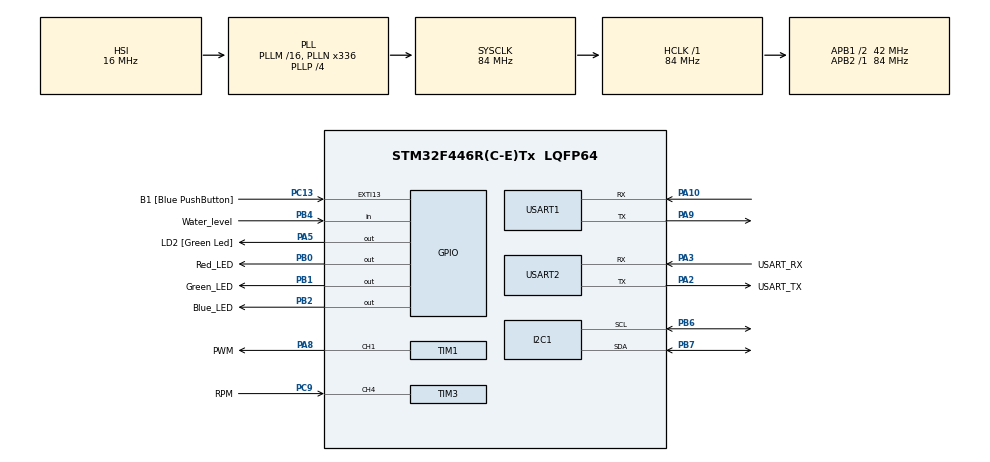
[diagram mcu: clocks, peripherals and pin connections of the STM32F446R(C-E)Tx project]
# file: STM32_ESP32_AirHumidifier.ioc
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IWDG.Prescaler=IWDG_PRESCALER_32
IWDG.Reload=1999
Mcu.Family=STM32F4
Mcu.Name=STM32F446R(C-E)Tx
Mcu.Package=LQFP64
NVIC.PriorityGroup=NVIC_PRIORITYGROUP_0
NVIC.TIM3_IRQn=true\:0\:0\:false\:false\:true\:true\:true\:true
NVIC.USART1_IRQn=true\:0\:0\:false\:false\:true\:true\:true\:true
PA10.Mode=Asynchronous
PA10.Signal=USART1_RX
PA13.GPIO_Label=TMS
PA13.Mode=Serial_Wire
PA13.Signal=SYS_JTMS-SWDIO
PA14.GPIO_Label=TCK
PA14.Mode=Serial_Wire
PA14.Signal=SYS_JTCK-SWCLK
PA2.GPIO_Label=USART_TX
PA2.Mode=Asynchronous
PA2.Signal=USART2_TX
PA3.GPIO_Label=USART_RX
PA3.Mode=Asynchronous
PA3.Signal=USART2_RX
PA5.GPIO_Label=LD2 [Green Led]
PA5.Signal=GPIO_Output
PA8.GPIO_Label=PWM
PA8.Signal=S_TIM1_CH1
PA9.Mode=Asynchronous
PA9.Signal=USART1_TX
PB0.GPIO_Label=Red_LED
PB0.Signal=GPIO_Output
PB1.GPIO_Label=Green_LED
PB1.Signal=GPIO_Output
PB2.GPIO_Label=Blue_LED
PB2.Signal=GPIO_Output
PB3.GPIO_Label=SWO
PB3.Signal=SYS_JTDO-SWO
PB4.GPIO_Label=Water_level
PB4.GPIO_PuPd=GPIO_PULLUP
PB4.Signal=GPIO_Input
PB6.GPIO_Pu=GPIO_PULLUP
PB6.Mode=I2C
PB6.Signal=I2C1_SCL
PB7.GPIO_Pu=GPIO_PULLUP
PB7.Mode=I2C
PB7.Signal=I2C1_SDA
PC13.GPIO_Label=B1 [Blue PushButton]
PC13.GPIO_ModeDefaultEXTI=GPIO_MODE_IT_FALLING
PC13.Signal=GPXTI13
PC14-OSC32_IN.Mode=LSE-External-Oscillator
PC14-OSC32_IN.Signal=RCC_OSC32_IN
PC15-OSC32_OUT.Mode=LSE-External-Oscillator
PC15-OSC32_OUT.Signal=RCC_OSC32_OUT
PC9.GPIO_Label=RPM
PC9.GPIO_PuPd=GPIO_PULLUP
PC9.Signal=S_TIM3_CH4
PH0-OSC_IN.Mode=HSE-External-Oscillator
PH0-OSC_IN.Signal=RCC_OSC_IN
PH1-OSC_OUT.Mode=HSE-External-Oscillator
PH1-OSC_OUT.Signal=RCC_OSC_OUT
ProjectManager.HeapSize=0x200
ProjectManager.StackSize=0x800
ProjectManager.TargetToolchain=CMake
RCC.48MHZClocksFreq_Value=84000000
RCC.AHBFreq_Value=84000000
RCC.APB1CLKDivider=RCC_HCLK_DIV2
RCC.APB1Freq_Value=42000000
RCC.APB1TimFreq_Value=84000000
RCC.APB2Freq_Value=84000000
RCC.APB2TimFreq_Value=84000000
RCC.CortexFreq_Value=84000000
RCC.FLatency-AdvancedSettings=FLASH_LATENCY_2
RCC.HCLKFreq_Value=84000000
RCC.HSE_VALUE=8000000
RCC.HSI_VALUE=16000000
RCC.PLLN=336
RCC.PLLP=RCC_PLLP_DIV4
RCC.SYSCLKFreq_VALUE=84000000
RCC.SYSCLKSource=RCC_SYSCLKSOURCE_PLLCLK
RCC.USBFreq_Value=168000000
RCC.VCOOutputFreq_Value=336000000
SH.S_TIM1_CH1.0=TIM1_CH1,PWM Generation1 CH1
SH.S_TIM3_CH4.0=TIM3_CH4,Input_Capture4_from_TI4
TIM1.Channel-PWM\ Generation1\ CH1=TIM_CHANNEL_1
TIM1.Period=\t3359
TIM1.Prescaler=0
TIM3.Channel-Input_Capture4_from_TI4=TIM_CHANNEL_4
TIM3.CounterMode=TIM_COUNTERMODE_UP
TIM3.Prescaler=839
USART1.VirtualMode=VM_ASYNC
USART2.VirtualMode=VM_ASYNC
VP_IWDG_VS_IWDG.Mode=IWDG_Activate
VP_TIM1_VS_ClockSourceINT.Mode=Internal
VP_TIM3_VS_ClockSourceINT.Mode=Internal
board=NUCLEO-F446RE

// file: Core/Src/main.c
/* USER CODE BEGIN Header */
/**
  ******************************************************************************
  * @file           : main.c
  * @brief          : Main program body
  ******************************************************************************
  * @attention
  *
  * Copyright (c) 2026 STMicroelectronics.
  * All rights reserved.
  *
  * This software is licensed under terms that can be found in the LICENSE file
  * in the root directory of this software component.
  * If no LICENSE file comes with this software, it is provided AS-IS.
  *
  ******************************************************************************
  */
/* USER CODE END Header */
#include "main.h"
#include "i2c.h"
#include "iwdg.h"
#include "tim.h"
#include "usart.h"
#include "gpio.h"

/* USER CODE BEGIN Includes */
#include "main.hpp"
#include "I2C_recovery.hpp"
/* USER CODE END Includes */

void SystemClock_Config(void);

int main(void)
{

  /* MCU Configuration--------------------------------------------------------*/

  /* Reset of all peripherals, Initializes the Flash interface and the Systick. */
  HAL_Init();

  /* Configure the system clock */
  SystemClock_Config();

  /* USER CODE BEGIN SysInit */
  I2C1_BusRecovery();
  /* USER CODE END SysInit */

  /* Initialize all configured peripherals */
  MX_GPIO_Init();
  MX_IWDG_Init();
  MX_USART1_UART_Init();
  MX_USART2_UART_Init();
  MX_I2C1_Init();
  MX_TIM1_Init();
  MX_TIM3_Init();
  /* USER CODE BEGIN 2 */
  HAL_TIM_IC_Start_IT(&htim3, TIM_CHANNEL_4);
  HAL_TIM_PWM_Start(&htim1, TIM_CHANNEL_1);
  app_main();
  /* USER CODE END 2 */

  /* Infinite loop */
  while (1)
  {

  }
}

void SystemClock_Config(void)
{
  RCC_OscInitTypeDef RCC_OscInitStruct = {0};
  RCC_ClkInitTypeDef RCC_ClkInitStruct = {0};

  /** Configure the main internal regulator output voltage
  */
  __HAL_RCC_PWR_CLK_ENABLE();
  __HAL_PWR_VOLTAGESCALING_CONFIG(PWR_REGULATOR_VOLTAGE_SCALE3);

  /** Initializes the RCC Oscillators according to the specified parameters
  * in the RCC_OscInitTypeDef structure.
  */
  RCC_OscInitStruct.OscillatorType = RCC_OSCILLATORTYPE_HSI|RCC_OSCILLATORTYPE_LSI;
  RCC_OscInitStruct.HSIState = RCC_HSI_ON;
  RCC_OscInitStruct.HSICalibrationValue = RCC_HSICALIBRATION_DEFAULT;
  RCC_OscInitStruct.LSIState = RCC_LSI_ON;
  RCC_OscInitStruct.PLL.PLLState = RCC_PLL_ON;
  RCC_OscInitStruct.PLL.PLLSource = RCC_PLLSOURCE_HSI;
  RCC_OscInitStruct.PLL.PLLM = 16;
  RCC_OscInitStruct.PLL.PLLN = 336;
  RCC_OscInitStruct.PLL.PLLP = RCC_PLLP_DIV4;
  RCC_OscInitStruct.PLL.PLLQ = 2;
  RCC_OscInitStruct.PLL.PLLR = 2;
  if (HAL_RCC_OscConfig(&RCC_OscInitStruct) != HAL_OK)
  {
    Error_Handler();
  }

  /** Initializes the CPU, AHB and APB buses clocks
  */
  RCC_ClkInitStruct.ClockType = RCC_CLOCKTYPE_HCLK|RCC_CLOCKTYPE_SYSCLK
                              |RCC_CLOCKTYPE_PCLK1|RCC_CLOCKTYPE_PCLK2;
  RCC_ClkInitStruct.SYSCLKSource = RCC_SYSCLKSOURCE_PLLCLK;
  RCC_ClkInitStruct.AHBCLKDivider = RCC_SYSCLK_DIV1;
  RCC_ClkInitStruct.APB1CLKDivider = RCC_HCLK_DIV2;
  RCC_ClkInitStruct.APB2CLKDivider = RCC_HCLK_DIV1;

  if (HAL_RCC_ClockConfig(&RCC_ClkInitStruct, FLASH_LATENCY_2) != HAL_OK)
  {
    Error_Handler();
  }
}

/* USER CODE BEGIN 4 */

// Timer tick -> 1 tick = 10 us

volatile uint32_t lastCapture = 0;    // (ticks)
volatile uint32_t lastPulseTime = 0;  // time of the last pulse (ms)
volatile uint32_t period = 0;         // time between the last two pulses (ticks)
// If for example period -> 6000 ticks that means that 60000 us had passed, which is 0.06 s

extern "C" void HAL_TIM_IC_CaptureCallback(TIM_HandleTypeDef *htim) {
  if (htim->Instance == TIM3 && htim->Channel == HAL_TIM_ACTIVE_CHANNEL_4) {

    // Detects timer value from 0 - 65535 (0xFFFF)
    uint32_t now = HAL_TIM_ReadCapturedValue(htim, TIM_CHANNEL_4);

    /* Ticks since the previous pulse. The 0xFFFF mask keeps the result correct even if
    the 16-bit counter wrapped around between the two pulses. Example:
    60000 ... 65535 -> 0 ... 500, so period = (65536 - 60000) + 500 = 6036 ticks */
    period = (now - lastCapture) & 0xFFFF;

    // Remember this pulse for the next calculation
    lastCapture = now;

    // Remember when the pulse arrived, so the main loop knows the fan is still spinning
    lastPulseTime = HAL_GetTick();
  }
}
/* USER CODE END 4 */

void Error_Handler(void)
{
  __disable_irq();
  while (1)
  {
  }
}
